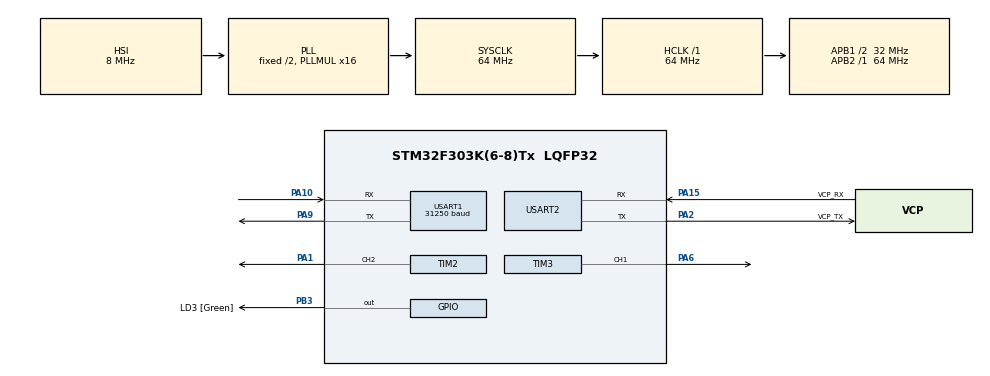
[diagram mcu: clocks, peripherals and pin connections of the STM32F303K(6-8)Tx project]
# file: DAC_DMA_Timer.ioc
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Mcu.Family=STM32F3
Mcu.Name=STM32F303K(6-8)Tx
Mcu.Package=LQFP32
NVIC.PriorityGroup=NVIC_PRIORITYGROUP_4
NVIC.USART1_IRQn=true\:0\:0\:false\:false\:true\:true
PA1.Signal=S_TIM2_CH2
PA10.Mode=Asynchronous
PA10.Signal=USART1_RX
PA13.GPIO_Label=SWDIO
PA13.Mode=Serial_Wire
PA13.Signal=SYS_JTMS-SWDIO
PA14.GPIO_Label=SWCLK
PA14.Mode=Serial_Wire
PA14.Signal=SYS_JTCK-SWCLK
PA15.GPIO_Label=VCP_RX
PA15.Mode=Asynchronous
PA15.Signal=USART2_RX
PA2.GPIO_Label=VCP_TX
PA2.Mode=Asynchronous
PA2.Signal=USART2_TX
PA6.Signal=S_TIM3_CH1
PA9.Mode=Asynchronous
PA9.Signal=USART1_TX
PB3.GPIO_Label=LD3 [Green]
PB3.Signal=GPIO_Output
PF0\ /\ OSC_IN.GPIO_Label=MCO
PF0\ /\ OSC_IN.Mode=HSE-External-Clock-Source
PF0\ /\ OSC_IN.Signal=RCC_OSC_IN
ProjectManager.HeapSize=0x200
ProjectManager.StackSize=0x400
ProjectManager.TargetToolchain=TrueSTUDIO
RCC.AHBFreq_Value=64000000
RCC.APB1CLKDivider=RCC_HCLK_DIV2
RCC.APB1Freq_Value=32000000
RCC.APB1TimFreq_Value=64000000
RCC.APB2Freq_Value=64000000
RCC.APB2TimFreq_Value=64000000
RCC.CortexFreq_Value=64000000
RCC.HCLKFreq_Value=64000000
RCC.HSE_VALUE=8000000
RCC.HSI_VALUE=8000000
RCC.PLLMUL=RCC_PLL_MUL16
RCC.SYSCLKFreq_VALUE=64000000
RCC.SYSCLKSourceVirtual=RCC_SYSCLKSOURCE_PLLCLK
SH.S_TIM2_CH2.0=TIM2_CH2,PWM Generation2 CH2
SH.S_TIM3_CH1.0=TIM3_CH1,PWM Generation1 CH1
TIM2.Channel-PWM\ Generation2\ CH2=TIM_CHANNEL_2
TIM2.Period=7272
TIM2.Prescaler=319
TIM2.Pulse-PWM\ Generation2\ CH2=4000
TIM3.Channel-PWM\ Generation1\ CH1=TIM_CHANNEL_1
TIM3.Period=7272
TIM3.Prescaler=319
TIM3.Pulse-PWM\ Generation1\ CH1=4000
USART1.BaudRate=31250
USART1.Mode=MODE_RX
USART1.VirtualMode-Asynchronous=VM_ASYNC
USART2.VirtualMode-Asynchronous=VM_ASYNC
VP_TIM2_VS_ClockSourceINT.Mode=Internal
VP_TIM3_VS_ClockSourceINT.Mode=Internal
board=NUCLEO-F303K8

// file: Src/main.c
/* USER CODE BEGIN Header */
/**
  ******************************************************************************
  * @file           : main.c
  * @brief          : Main program body
  ******************************************************************************
  ** This notice applies to any and all portions of this file
  * that are not between comment pairs USER CODE BEGIN and
  * USER CODE END. Other portions of this file, whether
  * inserted by the user or by software development tools
  * are owned by their respective copyright owners.
  *
  * COPYRIGHT(c) 2019 STMicroelectronics
  *
  * Redistribution and use in source and binary forms, with or without modification,
  * are permitted provided that the following conditions are met:
  *   1. Redistributions of source code must retain the above copyright notice,
  *      this list of conditions and the following disclaimer.
  *   2. Redistributions in binary form must reproduce the above copyright notice,
  *      this list of conditions and the following disclaimer in the documentation
  *      and/or other materials provided with the distribution.
  *   3. Neither the name of STMicroelectronics nor the names of its contributors
  *      may be used to endorse or promote products derived from this software
  *      without specific prior written permission.
  *
  * THIS SOFTWARE IS PROVIDED BY THE COPYRIGHT HOLDERS AND CONTRIBUTORS "AS IS"
  * AND ANY EXPRESS OR IMPLIED WARRANTIES, INCLUDING, BUT NOT LIMITED TO, THE
  * IMPLIED WARRANTIES OF MERCHANTABILITY AND FITNESS FOR A PARTICULAR PURPOSE ARE
  * DISCLAIMED. IN NO EVENT SHALL THE COPYRIGHT HOLDER OR CONTRIBUTORS BE LIABLE
  * FOR ANY DIRECT, INDIRECT, INCIDENTAL, SPECIAL, EXEMPLARY, OR CONSEQUENTIAL
  * DAMAGES (INCLUDING, BUT NOT LIMITED TO, PROCUREMENT OF SUBSTITUTE GOODS OR
  * SERVICES; LOSS OF USE, DATA, OR PROFITS; OR BUSINESS INTERRUPTION) HOWEVER
  * CAUSED AND ON ANY THEORY OF LIABILITY, WHETHER IN CONTRACT, STRICT LIABILITY,
  * OR TORT (INCLUDING NEGLIGENCE OR OTHERWISE) ARISING IN ANY WAY OUT OF THE USE
  * OF THIS SOFTWARE, EVEN IF ADVISED OF THE POSSIBILITY OF SUCH DAMAGE.
  *
  ******************************************************************************
  */
/* USER CODE END Header */

#include "main.h"

/* USER CODE BEGIN Includes */
#include "math.h"
#include "print_UART.h"
/* USER CODE END Includes */

/* USER CODE BEGIN PD */
#define F_CLK 64000000
/* USER CODE END PD */

TIM_HandleTypeDef htim2;
TIM_HandleTypeDef htim3;

UART_HandleTypeDef huart1;
UART_HandleTypeDef huart2;

/* USER CODE BEGIN PV */
static uint16_t timers_notas[89];
uint8_t mensaje_MIDI[3];

/* USER CODE END PV */

void SystemClock_Config(void);
static void MX_GPIO_Init(void);
static void MX_USART2_UART_Init(void);
static void MX_TIM3_Init(void);
static void MX_USART1_UART_Init(void);
static void MX_TIM2_Init(void);
/* USER CODE BEGIN PFP */
void calculo_notas(void);
void start_nota(uint8_t nota);
void stop_nota(void);
/* USER CODE END PFP */

int main(void)
{

  /* MCU Configuration--------------------------------------------------------*/

  /* Reset of all peripherals, Initializes the Flash interface and the Systick. */
  HAL_Init();

  /* Configure the system clock */
  SystemClock_Config();

  /* Initialize all configured peripherals */
  MX_GPIO_Init();
  MX_USART2_UART_Init();
  MX_TIM3_Init();
  MX_USART1_UART_Init();
  MX_TIM2_Init();
  /* USER CODE BEGIN 2 */
  calculo_notas();
  __HAL_UART_ENABLE_IT(&huart1, UART_IT_RXNE);
  //HAL_TIM_PWM_Start(&htim3, TIM_CHANNEL_1);

  start_nota(30);

  /* USER CODE END 2 */

  /* Infinite loop */
  while (1)
  {

  }
}

void SystemClock_Config(void)
{
  RCC_OscInitTypeDef RCC_OscInitStruct = {0};
  RCC_ClkInitTypeDef RCC_ClkInitStruct = {0};
  RCC_PeriphCLKInitTypeDef PeriphClkInit = {0};

  /**Initializes the CPU, AHB and APB busses clocks
  */
  RCC_OscInitStruct.OscillatorType = RCC_OSCILLATORTYPE_HSI;
  RCC_OscInitStruct.HSIState = RCC_HSI_ON;
  RCC_OscInitStruct.HSICalibrationValue = RCC_HSICALIBRATION_DEFAULT;
  RCC_OscInitStruct.PLL.PLLState = RCC_PLL_ON;
  RCC_OscInitStruct.PLL.PLLSource = RCC_PLLSOURCE_HSI;
  RCC_OscInitStruct.PLL.PLLMUL = RCC_PLL_MUL16;
  if (HAL_RCC_OscConfig(&RCC_OscInitStruct) != HAL_OK)
  {
    Error_Handler();
  }
  /**Initializes the CPU, AHB and APB busses clocks
  */
  RCC_ClkInitStruct.ClockType = RCC_CLOCKTYPE_HCLK|RCC_CLOCKTYPE_SYSCLK
                              |RCC_CLOCKTYPE_PCLK1|RCC_CLOCKTYPE_PCLK2;
  RCC_ClkInitStruct.SYSCLKSource = RCC_SYSCLKSOURCE_PLLCLK;
  RCC_ClkInitStruct.AHBCLKDivider = RCC_SYSCLK_DIV1;
  RCC_ClkInitStruct.APB1CLKDivider = RCC_HCLK_DIV2;
  RCC_ClkInitStruct.APB2CLKDivider = RCC_HCLK_DIV1;

  if (HAL_RCC_ClockConfig(&RCC_ClkInitStruct, FLASH_LATENCY_2) != HAL_OK)
  {
    Error_Handler();
  }
  PeriphClkInit.PeriphClockSelection = RCC_PERIPHCLK_USART1;
  PeriphClkInit.Usart1ClockSelection = RCC_USART1CLKSOURCE_PCLK1;
  if (HAL_RCCEx_PeriphCLKConfig(&PeriphClkInit) != HAL_OK)
  {
    Error_Handler();
  }
}

static void MX_TIM2_Init(void)
{

  TIM_ClockConfigTypeDef sClockSourceConfig = {0};
  TIM_MasterConfigTypeDef sMasterConfig = {0};
  TIM_OC_InitTypeDef sConfigOC = {0};

  htim2.Instance = TIM2;
  htim2.Init.Prescaler = 319;
  htim2.Init.CounterMode = TIM_COUNTERMODE_UP;
  htim2.Init.Period = 7272;
  htim2.Init.ClockDivision = TIM_CLOCKDIVISION_DIV1;
  htim2.Init.AutoReloadPreload = TIM_AUTORELOAD_PRELOAD_DISABLE;
  if (HAL_TIM_Base_Init(&htim2) != HAL_OK)
  {
    Error_Handler();
  }
  sClockSourceConfig.ClockSource = TIM_CLOCKSOURCE_INTERNAL;
  if (HAL_TIM_ConfigClockSource(&htim2, &sClockSourceConfig) != HAL_OK)
  {
    Error_Handler();
  }
  if (HAL_TIM_PWM_Init(&htim2) != HAL_OK)
  {
    Error_Handler();
  }
  sMasterConfig.MasterOutputTrigger = TIM_TRGO_RESET;
  sMasterConfig.MasterSlaveMode = TIM_MASTERSLAVEMODE_DISABLE;
  if (HAL_TIMEx_MasterConfigSynchronization(&htim2, &sMasterConfig) != HAL_OK)
  {
    Error_Handler();
  }
  sConfigOC.OCMode = TIM_OCMODE_PWM1;
  sConfigOC.Pulse = 4000;
  sConfigOC.OCPolarity = TIM_OCPOLARITY_HIGH;
  sConfigOC.OCFastMode = TIM_OCFAST_DISABLE;
  if (HAL_TIM_PWM_ConfigChannel(&htim2, &sConfigOC, TIM_CHANNEL_2) != HAL_OK)
  {
    Error_Handler();
  }
  HAL_TIM_MspPostInit(&htim2);

}

static void MX_TIM3_Init(void)
{

  TIM_ClockConfigTypeDef sClockSourceConfig = {0};
  TIM_MasterConfigTypeDef sMasterConfig = {0};
  TIM_OC_InitTypeDef sConfigOC = {0};

  htim3.Instance = TIM3;
  htim3.Init.Prescaler = 319;
  htim3.Init.CounterMode = TIM_COUNTERMODE_UP;
  htim3.Init.Period = 7272;
  htim3.Init.ClockDivision = TIM_CLOCKDIVISION_DIV1;
  htim3.Init.AutoReloadPreload = TIM_AUTORELOAD_PRELOAD_DISABLE;
  if (HAL_TIM_Base_Init(&htim3) != HAL_OK)
  {
    Error_Handler();
  }
  sClockSourceConfig.ClockSource = TIM_CLOCKSOURCE_INTERNAL;
  if (HAL_TIM_ConfigClockSource(&htim3, &sClockSourceConfig) != HAL_OK)
  {
    Error_Handler();
  }
  if (HAL_TIM_PWM_Init(&htim3) != HAL_OK)
  {
    Error_Handler();
  }
  sMasterConfig.MasterOutputTrigger = TIM_TRGO_RESET;
  sMasterConfig.MasterSlaveMode = TIM_MASTERSLAVEMODE_DISABLE;
  if (HAL_TIMEx_MasterConfigSynchronization(&htim3, &sMasterConfig) != HAL_OK)
  {
    Error_Handler();
  }
  sConfigOC.OCMode = TIM_OCMODE_PWM1;
  sConfigOC.Pulse = 4000;
  sConfigOC.OCPolarity = TIM_OCPOLARITY_HIGH;
  sConfigOC.OCFastMode = TIM_OCFAST_DISABLE;
  if (HAL_TIM_PWM_ConfigChannel(&htim3, &sConfigOC, TIM_CHANNEL_1) != HAL_OK)
  {
    Error_Handler();
  }
  HAL_TIM_MspPostInit(&htim3);

}

static void MX_USART1_UART_Init(void)
{

  huart1.Instance = USART1;
  huart1.Init.BaudRate = 31250;
  huart1.Init.WordLength = UART_WORDLENGTH_8B;
  huart1.Init.StopBits = UART_STOPBITS_1;
  huart1.Init.Parity = UART_PARITY_NONE;
  huart1.Init.Mode = UART_MODE_RX;
  huart1.Init.HwFlowCtl = UART_HWCONTROL_NONE;
  huart1.Init.OverSampling = UART_OVERSAMPLING_16;
  huart1.Init.OneBitSampling = UART_ONE_BIT_SAMPLE_DISABLE;
  huart1.AdvancedInit.AdvFeatureInit = UART_ADVFEATURE_NO_INIT;
  if (HAL_UART_Init(&huart1) != HAL_OK)
  {
    Error_Handler();
  }

}

static void MX_USART2_UART_Init(void)
{

  huart2.Instance = USART2;
  huart2.Init.BaudRate = 38400;
  huart2.Init.WordLength = UART_WORDLENGTH_8B;
  huart2.Init.StopBits = UART_STOPBITS_1;
  huart2.Init.Parity = UART_PARITY_NONE;
  huart2.Init.Mode = UART_MODE_TX_RX;
  huart2.Init.HwFlowCtl = UART_HWCONTROL_NONE;
  huart2.Init.OverSampling = UART_OVERSAMPLING_16;
  huart2.Init.OneBitSampling = UART_ONE_BIT_SAMPLE_DISABLE;
  huart2.AdvancedInit.AdvFeatureInit = UART_ADVFEATURE_NO_INIT;
  if (HAL_UART_Init(&huart2) != HAL_OK)
  {
    Error_Handler();
  }

}

static void MX_GPIO_Init(void)
{
  GPIO_InitTypeDef GPIO_InitStruct = {0};

  /* GPIO Ports Clock Enable */
  __HAL_RCC_GPIOF_CLK_ENABLE();
  __HAL_RCC_GPIOA_CLK_ENABLE();
  __HAL_RCC_GPIOB_CLK_ENABLE();

  /*Configure GPIO pin Output Level */
  HAL_GPIO_WritePin(LD3_GPIO_Port, LD3_Pin, GPIO_PIN_RESET);

  /*Configure GPIO pin : LD3_Pin */
  GPIO_InitStruct.Pin = LD3_Pin;
  GPIO_InitStruct.Mode = GPIO_MODE_OUTPUT_PP;
  GPIO_InitStruct.Pull = GPIO_NOPULL;
  GPIO_InitStruct.Speed = GPIO_SPEED_FREQ_LOW;
  HAL_GPIO_Init(LD3_GPIO_Port, &GPIO_InitStruct);

}

/* USER CODE BEGIN 4 */
// Calcula todas las notas (1-88) y sus respectivos periodos para el timer
void calculo_notas(void){
	for (uint8_t i=1;i<89;i++){
		float f_nota = 27.50 * pow(1.059463094, i-1);
		timers_notas[i] = round(F_CLK/320/f_nota);
	}
}

void start_nota(uint8_t nota){
	// Senal cuadrada
	__HAL_TIM_SET_AUTORELOAD(&htim3, timers_notas[nota]-1); // Ajustamos el timer adecuado
	__HAL_TIM_SET_COMPARE(&htim3, TIM_CHANNEL_1, htim3.Init.Period - (timers_notas[nota]-1)/2); //Ajustamos el duty cycle a 1/2, se controlarА externamente con un ADC
	HAL_TIM_PWM_Start(&htim3, TIM_CHANNEL_1);

	// Senal tren de deltas
	__HAL_TIM_SET_AUTORELOAD(&htim2, timers_notas[nota]-1); // Ajustamos el timer adecuado
	__HAL_TIM_SET_COMPARE(&htim2, TIM_CHANNEL_2, (timers_notas[nota]-1)/20); //Ajustamos el duty cycle a 1/20 (5%), se controlarА externamente con un ADC
	HAL_TIM_PWM_Start(&htim2, TIM_CHANNEL_2);
}

void stop_nota(void) {
	HAL_TIM_PWM_Stop(&htim3, TIM_CHANNEL_1);
	HAL_TIM_PWM_Stop(&htim2, TIM_CHANNEL_2);
}

// Atencion a la interrupciСn de la UART1, cuando se recibe un mensaje MIDI salta la interrupcion
void HAL_UART_RxCpltCallback(UART_HandleTypeDef *huart) {

	// Trasmitimos los bytes recibidos por la UART2, por pantalla
	for(uint8_t i=0;i<sizeof(mensaje_MIDI);i++){
		tx_UART_byte(&huart2, mensaje_MIDI[i], 10);
	}
	// Analizamos el primer byte recibido. Si empieza por 1001, start nota
	if ((mensaje_MIDI[0]>>4) == 0b1001){
		uint8_t nota = mensaje_MIDI[1]-20; // Obtenemos la nota MIDI, le restamos 20 para que coincida con nuestro teclado
		start_nota(nota);
	}
	else {	// Si no empieza por 1001, es un stop nota
		stop_nota();
	}
	__HAL_UART_ENABLE_IT(&huart1, UART_IT_RXNE); // Volvemos a activar las interrupciones de la UART1

}
/* USER CODE END 4 */

void Error_Handler(void)
{
}

/************************ (C) COPYRIGHT STMicroelectronics *****END OF FILE****/
